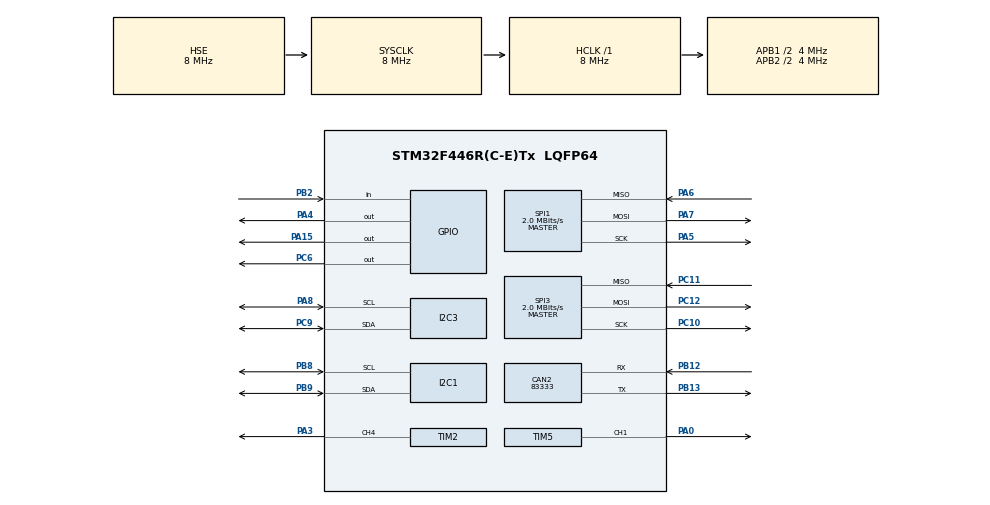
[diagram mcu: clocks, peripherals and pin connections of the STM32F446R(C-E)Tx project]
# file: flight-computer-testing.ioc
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CAN2.CalculateBaudRate=83333
CAN2.CalculateTimeBit=12000
CAN2.CalculateTimeQuantum=4000.0
Mcu.Family=STM32F4
Mcu.Name=STM32F446R(C-E)Tx
Mcu.Package=LQFP64
NVIC.PriorityGroup=NVIC_PRIORITYGROUP_4
PA0-WKUP.Signal=S_TIM5_CH1
PA13.Mode=Trace_Asynchronous_SW
PA13.Signal=SYS_JTMS-SWDIO
PA14.Mode=Trace_Asynchronous_SW
PA14.Signal=SYS_JTCK-SWCLK
PA15.PinState=GPIO_PIN_SET
PA15.Signal=GPIO_Output
PA3.Signal=S_TIM2_CH4
PA4.PinState=GPIO_PIN_SET
PA4.Signal=GPIO_Output
PA5.Mode=Full_Duplex_Master
PA5.Signal=SPI1_SCK
PA6.Mode=Full_Duplex_Master
PA6.Signal=SPI1_MISO
PA7.Mode=Full_Duplex_Master
PA7.Signal=SPI1_MOSI
PA8.GPIO_Pu=GPIO_NOPULL
PA8.Mode=I2C
PA8.Signal=I2C3_SCL
PB12.Mode=CAN_Activate
PB12.Signal=CAN2_RX
PB13.Mode=CAN_Activate
PB13.Signal=CAN2_TX
PB2.Signal=GPIO_Input
PB3.Mode=Trace_Asynchronous_SW
PB3.Signal=SYS_JTDO-SWO
PB8.Mode=I2C
PB8.Signal=I2C1_SCL
PB9.Mode=I2C
PB9.Signal=I2C1_SDA
PC10.Mode=Full_Duplex_Master
PC10.Signal=SPI3_SCK
PC11.Mode=Full_Duplex_Master
PC11.Signal=SPI3_MISO
PC12.Mode=Full_Duplex_Master
PC12.Signal=SPI3_MOSI
PC6.Signal=GPIO_Output
PC9.GPIO_Pu=GPIO_NOPULL
PC9.Mode=I2C
PC9.Signal=I2C3_SDA
PH0-OSC_IN.Mode=HSE-External-Oscillator
PH0-OSC_IN.Signal=RCC_OSC_IN
PH1-OSC_OUT.Mode=HSE-External-Oscillator
PH1-OSC_OUT.Signal=RCC_OSC_OUT
ProjectManager.HeapSize=0x200
ProjectManager.StackSize=0x400
ProjectManager.TargetToolchain=STM32CubeIDE
RCC.AHBFreq_Value=8000000
RCC.APB1CLKDivider=RCC_HCLK_DIV2
RCC.APB1Freq_Value=4000000
RCC.APB1TimFreq_Value=8000000
RCC.APB2CLKDivider=RCC_HCLK_DIV2
RCC.APB2Freq_Value=4000000
RCC.APB2TimFreq_Value=8000000
RCC.CortexFreq_Value=8000000
RCC.HCLKFreq_Value=8000000
RCC.HSE_VALUE=8000000
RCC.PLLSourceVirtual=RCC_PLLSOURCE_HSE
RCC.SYSCLKFreq_VALUE=8000000
RCC.SYSCLKSource=RCC_SYSCLKSOURCE_HSE
RCC.USBFreq_Value=48000000
RCC.VCOOutputFreq_Value=96000000
SH.S_TIM2_CH4.0=TIM2_CH4,PWM Generation4 CH4
SH.S_TIM5_CH1.0=TIM5_CH1,PWM Generation1 CH1
SPI1.CalculateBaudRate=2.0 MBits/s
SPI1.Direction=SPI_DIRECTION_2LINES
SPI1.Mode=SPI_MODE_MASTER
SPI1.VirtualType=VM_MASTER
SPI3.CLKPhase=SPI_PHASE_2EDGE
SPI3.CLKPolarity=SPI_POLARITY_HIGH
SPI3.CalculateBaudRate=2.0 MBits/s
SPI3.Direction=SPI_DIRECTION_2LINES
SPI3.Mode=SPI_MODE_MASTER
SPI3.VirtualType=VM_MASTER
TIM2.Channel-PWM\ Generation4\ CH4=TIM_CHANNEL_4
TIM2.Period=2928
TIM2.Pulse-PWM\ Generation4\ CH4=1465
TIM5.Channel-PWM\ Generation1\ CH1=TIM_CHANNEL_1
TIM5.Period=19999
TIM5.Prescaler=7
TIM5.Pulse-PWM\ Generation1\ CH1=1500
board=custom

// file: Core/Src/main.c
/* USER CODE BEGIN Header */
/**
  ******************************************************************************
  * @file           : main.c
  * @brief          : Main program body
  ******************************************************************************
  * @attention
  *
  * Copyright (c) 2026 STMicroelectronics.
  * All rights reserved.
  *
  * This software is licensed under terms that can be found in the LICENSE file
  * in the root directory of this software component.
  * If no LICENSE file comes with this software, it is provided AS-IS.
  *
  ******************************************************************************
  */
/* USER CODE END Header */
#include "main.h"

/* USER CODE BEGIN Includes */
#include <stdio.h>
#include "h3lis.h"
#define H3LIS_ADDR_LOW   (0x18 << 1)
#define H3LIS_ADDR_HIGH  (0x19 << 1)

#include "dps368.h"

#include "IMU.h"

#include "w25n.h"

#include "fsm.h"

#include "mtr_control.h"

#include "config.h"

#include "sensor_fusion.h"
#include "sensor_mount.h"

#include "airbrake_api.h"
#include "airbrake_io.h"

#include "bench.h"

#include "telemetry.h"
#include "telemetry_can.h"
/* USER CODE END Includes */

CAN_HandleTypeDef hcan2;

I2C_HandleTypeDef hi2c1;
I2C_HandleTypeDef hi2c3;

SPI_HandleTypeDef hspi1;
SPI_HandleTypeDef hspi3;

TIM_HandleTypeDef htim2;
TIM_HandleTypeDef htim5;

/* USER CODE BEGIN PV */
Accel_t accel;
uint8_t accelResult; // expected 0x32
AccelData_t accelData;

Baro_t baro;
int32_t tmp_raw, prs_raw;
float temperature_C, pressure_hPa, altitude_m;
uint8_t baroResult; // expected 0x10

IMU imu;
uint8_t IMUResult; // expected 0x6C

W25N_Handle_t nand;
W25N_Status_t nandStatus; // expected W25N_OK after Verify_ID
TelemetryRecord_t telemetry;

uint32_t loop_us, loop_us_max; /* loop body timing, see LoopTimer_* */

FusionOutput fusion;
int32_t last_prs_raw; /* a changed pressure is the only sign of a new baro sample */

uint8_t ab_boot_flags;

#if LOG_DUMP_AT_BOOT
/* capture-log --last-minutes writes this over SWD before it switches SWO
 * on (it finds the address in the Debug ELF): DUMP_REQUEST_MAGIC, then how
 * many of the newest records to dump. Without the magic the whole log is
 * dumped. Volatile: only the debugger writes it. */
#define DUMP_REQUEST_MAGIC 0xD0A9D0A9u
volatile uint32_t dump_request[2];
#endif

/* USER CODE END PV */

void SystemClock_Config(void);
static void MX_GPIO_Init(void);
static void MX_I2C1_Init(void);
static void MX_I2C3_Init(void);
static void MX_SPI3_Init(void);
static void MX_SPI1_Init(void);
static void MX_TIM2_Init(void);
static void MX_TIM5_Init(void);
static void MX_CAN2_Init(void);

/* USER CODE BEGIN 0 */
/* Loop timing from the DWT cycle counter, so the worst-case loop time
 * (sensors + fusion + airbrake + logging) can be checked on the bench. */
static void LoopTimer_Init(void)
{
    CoreDebug->DEMCR |= CoreDebug_DEMCR_TRCENA_Msk;
    DWT->CYCCNT = 0;
    DWT->CTRL |= DWT_CTRL_CYCCNTENA_Msk;
}

static uint32_t LoopTimer_Elapsed_us(uint32_t start_cycles)
{
    return (DWT->CYCCNT - start_cycles) / (SystemCoreClock / 1000000u);
}

#if LOG_DUMP_AT_BOOT
/* The dump build only: switch from the 8 MHz crystal to the PLL at 128 MHz,
 * so the dump is limited by SWO rather than the CPU. 128 MHz keeps SPI1 (the
 * NAND) at the same 2 MHz it runs at in flight: APB2 64 MHz / 32. The
 * programmer must be told this clock (freq=128, capture-log's --hclk-mhz
 * default) or the SWO output is garbage. */
#define DUMP_HCLK_MHZ 128

static HAL_StatusTypeDef Dump_Clock_Up(void)
{
  // TIM5 drives the airbrake servo and would run 16x fast: let it go limp
  HAL_TIM_PWM_Stop(&htim5, TIM_CHANNEL_1);

  __HAL_RCC_PWR_CLK_ENABLE();
  __HAL_PWR_VOLTAGESCALING_CONFIG(PWR_REGULATOR_VOLTAGE_SCALE1);

  RCC_OscInitTypeDef osc = {0};
  osc.OscillatorType = RCC_OSCILLATORTYPE_NONE;   // the HSE is already running
  osc.PLL.PLLState = RCC_PLL_ON;
  osc.PLL.PLLSource = RCC_PLLSOURCE_HSE;
  osc.PLL.PLLM = 4;                 // 8 MHz / 4 = 2 MHz PLL input (1-2 MHz allowed)
  osc.PLL.PLLN = 128;               // 256 MHz VCO (100-432 MHz allowed)
  osc.PLL.PLLP = RCC_PLLP_DIV2;     // 128 MHz system clock
  osc.PLL.PLLQ = 8;                 // 32 MHz, unused
  osc.PLL.PLLR = 2;                 // 128 MHz, unused
  if (HAL_RCC_OscConfig(&osc) != HAL_OK) {
    return HAL_ERROR;               // still on the crystal at 8 MHz
  }

  RCC_ClkInitTypeDef clk = {0};
  clk.ClockType = RCC_CLOCKTYPE_HCLK | RCC_CLOCKTYPE_SYSCLK
                | RCC_CLOCKTYPE_PCLK1 | RCC_CLOCKTYPE_PCLK2;
  clk.SYSCLKSource = RCC_SYSCLKSOURCE_PLLCLK;
  clk.AHBCLKDivider = RCC_SYSCLK_DIV1;
  clk.APB1CLKDivider = RCC_HCLK_DIV4;   // 32 MHz (max 45)
  clk.APB2CLKDivider = RCC_HCLK_DIV2;   // 64 MHz (max 90)
  // 4 flash wait states covers up to 150 MHz at 2.7-3.6 V. Also re-times
  // SysTick, so HAL_Delay stays in ms
  if (HAL_RCC_ClockConfig(&clk, FLASH_LATENCY_4) != HAL_OK) {
    return HAL_ERROR;
  }

  hspi1.Init.BaudRatePrescaler = SPI_BAUDRATEPRESCALER_32;   // 64 MHz / 32 = 2 MHz
  return HAL_SPI_Init(&hspi1);
}
#endif

/* USER CODE END 0 */

int main(void)
{

  /* MCU Configuration--------------------------------------------------------*/

  /* Reset of all peripherals, Initializes the Flash interface and the Systick. */
  HAL_Init();

  /* Configure the system clock */
  SystemClock_Config();

  /* Initialize all configured peripherals */
  MX_GPIO_Init();
  MX_I2C1_Init();
  MX_I2C3_Init();
  MX_SPI3_Init();
  MX_SPI1_Init();
  MX_TIM2_Init();
  MX_TIM5_Init();
  MX_CAN2_Init();
  /* USER CODE BEGIN 2 */

  Motor_t airbrake_motor;

#if !(LOG_ERASE_AT_BOOT || LOG_DUMP_AT_BOOT)
  // standard build
  for (int i = 0; i < STARTUP_BEEP_COUNT; i++) {
  		  HAL_TIM_PWM_Start(&htim2, TIM_CHANNEL_4);
  		  HAL_Delay(STARTUP_BEEP_ON_MS);
  		  HAL_TIM_PWM_Stop(&htim2, TIM_CHANNEL_4);
  		  HAL_Delay(STARTUP_BEEP_OFF_MS);
  	}
#endif

#if LOG_ERASE_AT_BOOT || LOG_DUMP_AT_BOOT
  // log dump or erase build
  HAL_TIM_PWM_Start(&htim2, TIM_CHANNEL_4);
  HAL_Delay(STARTUP_BEEP_ON_MS * 35);
  HAL_TIM_PWM_Stop(&htim2, TIM_CHANNEL_4);

#endif
  printf("SERIAL CHECK\n");

  //HAL_Delay(STARTUP_BEEP_OFF_MS);

  // starts at MOTOR_STARTUP_ANGLE_DEG (closed), nothing else moves it at boot
  mtr_init(&airbrake_motor, &htim5, TIM_CHANNEL_1);

//  bench_boot_tests(&airbrake_motor, &htim2);

  accel.i2c_handle = &hi2c1;
  accel.device_addr = H3LIS_ADDR_HIGH;
  accelResult = h3lis_init(&accel);

  baro.i2c_handle = &hi2c3;
  baro.device_addr = DPS368_I2C_ADDR;
  baroResult = dps368_init(&baro);
  if (baroResult != DPS368_WHOAMI_VAL) {
	  // nothing
  }
  dps368_config_tmp(&baro, BARO_TMP_MEAS_RATE, BARO_TMP_OVERSAMPLING);
  dps368_config_prs(&baro, BARO_PRS_MEAS_RATE, BARO_PRS_OVERSAMPLING);
  dps368_set_opmode(&baro, DPS368_OPMODE_BACKGROUND_PRS_TMP);

  IMUResult = IMU_Initialise(&imu, &hspi3, GPIOA, GPIO_PIN_15);

  // whoami seems to fail, but the values are read normally??? or atleast print normally
//    if (IMUResult != IMU_WHOAMI_VAL) {
//        while (1) {
//            HAL_Delay(100); /* trap here so a wiring/SPI-mode fault is obvious on a debugger */
//        }
//    }

  nand.hspi = &hspi1;
  nand.cs_port = GPIOA;
  nand.cs_pin = GPIO_PIN_4;
  nand.timeout = NAND_TIMEOUT_MS;

  W25N_Reset(&nand);
  nandStatus = W25N_Verify_ID(&nand);
  if (nandStatus != W25N_OK) {
	  printf("NAND: JEDEC ID mismatch - check wiring/CS\r\n");
  }

  nandStatus = W25N_Unlock_All_Blocks(&nand);
  if (nandStatus != W25N_OK) {
	printf("NAND: failed to clear block protection\r\n");
  }

#if LOG_ERASE_AT_BOOT && LOG_DUMP_AT_BOOT
#error "set only one of LOG_ERASE_AT_BOOT and LOG_DUMP_AT_BOOT"
#endif
#if LOG_ERASE_AT_BOOT
#ifndef DEBUG
#error "LOG_ERASE_AT_BOOT erases the log and stops - it must never be set in a Release (flight) build"
#endif
  nandStatus = W25N_Log_Erase(&nand, sizeof(TelemetryRecord_t));
  printf("NAND: log erased, status %d. Set LOG_ERASE_AT_BOOT to 0 and re-flash\r\n", nandStatus);
  // stop here, so a board left with this build can't erase a flight log
  while (1) {
  }
#endif

  // carry on after the log already on the chip, so a reboot (even
  // mid-flight) adds to it instead of writing over it
  nandStatus = W25N_Log_Resume(&nand, sizeof(TelemetryRecord_t));
  if (nandStatus != W25N_OK) {
	printf("NAND: can't find the end of the log, status %d - not logging\r\n", nandStatus);
  } else {
	printf("NAND: log continues at page %lu\r\n", (unsigned long)nand.log_next_page);
  }

  FSM_t fsm;
  FSM_Init(&fsm);

  if (FSM_GetState(&fsm) == FSM_STATE_READY) {
	  HAL_TIM_PWM_Start(&htim2, TIM_CHANNEL_4);
	  HAL_Delay(READY_BEEP_MS);
	  HAL_TIM_PWM_Stop(&htim2, TIM_CHANNEL_4);

  }

  // the first ~2 s of updates calibrate the gyro and pad level, so the board
  // must be still from here
  fusion_init();

  // provisional airbrake config (pad elevation is only known at launch), then
  // the built-in self test. The brakes stay closed on the pad either way.
  AB_Status ab_cfg_status = ab_io_configure(0.0f);
  AB_Status ab_test_status = ab_self_test();
  ab_boot_flags = (uint8_t)((ab_cfg_status == AB_OK ? AB_BOOT_CONFIGURED : 0u) |
                            (ab_test_status == AB_OK ? AB_BOOT_SELF_TEST_OK : 0u));
  printf("airbrake: Cd table %s, configure %d, self test %d\r\n",
         ab_cd_table_provenance(), (int)ab_cfg_status, (int)ab_test_status);

#ifdef BENCH_BUILD
    while (1) {
  	  mtr_set_angle_deg(&airbrake_motor, MOTOR_ANGLE_MAX_DEG);
  	  HAL_Delay(5000);
  	  mtr_set_angle_deg(&airbrake_motor, MOTOR_ANGLE_MIN_DEG);
  	  HAL_Delay(5000);
    }
  uint32_t bench_print_count = 0;  // the loop below still uses it
#endif

  LoopTimer_Init();
  uint32_t prevTick = HAL_GetTick();

#if LOG_DUMP_AT_BOOT
#ifndef DEBUG
#error "LOG_DUMP_AT_BOOT stops the firmware after the dump - it must never be set in a Release (flight) build"
#endif
  // before anything goes out over SWO, which the programmer times from the
  // clock it's told. If this fails the board stays at 8 MHz: capture with
  // --hclk-mhz 8
  HAL_StatusTypeDef dump_clock = Dump_Clock_Up();
  printf("DUMPING NAND LOG *** BEGIN IN %ims", LOG_DUMP_START_DELAY_MS);
  // ITM drops every character until a debugger turns SWO on, so wait for
  // the capture (uv run capture-log in tools/) to start
  while (!((ITM->TCR & ITM_TCR_ITMENA_Msk) && (ITM->TER & 1UL))) {
  }
  HAL_Delay(LOG_DUMP_START_DELAY_MS);
  printf("\r\n");
  // the SWO bit rate the programmer chose, from the prescaler it set
  printf("# clock hclk_mhz=%lu clock_up=%d swo_khz=%lu\r\n",
         (unsigned long)(SystemCoreClock / 1000000u), (int)dump_clock,
         (unsigned long)(SystemCoreClock / 1000u / ((TPI->ACPR & 0x1FFFu) + 1u)));
  // log size first, so the capture can show progress
  printf("# log pages=%lu records_per_page=%lu\r\n", (unsigned long)nand.log_next_page,
         (unsigned long)(W25N_PAGE_SIZE_BYTES / sizeof(TelemetryRecord_t)));
  // records go out base64 encoded and capture-log turns them back into CSV:
  // printf's float formatting took most of a CSV dump's time at 8 MHz
  printf("# format=b64 record_bytes=%lu\r\n", (unsigned long)sizeof(TelemetryRecord_t));
  // where to start: the whole log, or enough pages for the records asked for,
  // plus one because the newest page may be only partly filled
  uint32_t dump_first_page = 0;
  if (dump_request[0] == DUMP_REQUEST_MAGIC) {
    uint32_t per_page = W25N_PAGE_SIZE_BYTES / sizeof(TelemetryRecord_t);
    uint32_t pages = dump_request[1] / per_page + 2;   // rounded up, plus one
    dump_first_page = (pages < nand.log_next_page) ? nand.log_next_page - pages : 0;
  }
  printf("# dump first_page=%lu\r\n", (unsigned long)dump_first_page);
  telemetry_print_csv_header();
  W25N_Log_Dump(&nand, dump_first_page, nand.log_next_page, &telemetry, sizeof(telemetry),
                telemetry_print_b64);
  printf("# end of log\r\n");
  // stop here, so the dump build never adds to the log it just read
  while (1) {
  }
#endif

#if TELEMETRY_CAN_ENABLED
  // live telemetry to the Telemetry Board over CAN2. Failing here only
  // loses the radio link: nothing in flight depends on it
  HAL_StatusTypeDef can_status = telemetry_can_start(&hcan2);
  bool can_ok = (can_status == HAL_OK);
  printf("CAN telemetry: %s (status %d, error 0x%lx)\r\n",
         can_ok ? "started" :
         (hcan2.ErrorCode & HAL_CAN_ERROR_TIMEOUT) ? "NOT started, bus not idle, will retry" :
         "NOT started, bad setup",
         (int)can_status, (unsigned long)hcan2.ErrorCode);
  TelemetryRecordMini radio;
  uint32_t radio_count = 0;
  uint32_t can_status_tick = HAL_GetTick();
#else
  printf("CAN telemetry: disabled (TELEMETRY_CAN_ENABLED 0)\r\n");
#endif

  /* USER CODE END 2 */

  /* Infinite loop */
  while (1)
  {

    /* USER CODE BEGIN 3 */

	  uint32_t timeTick = HAL_GetTick();

	  if (timeTick - prevTick >= MIN_CONTROL_LOOP_PERIOD_MS) {
		  float dt_s = (float)(timeTick - prevTick) * 0.001f;
		  prevTick = timeTick;
		  uint32_t loopStart = DWT->CYCCNT;

		  h3lis_read(&accel, &accelData);

		  dps368_get_result(&baro, &tmp_raw, &prs_raw);
		  temperature_C = tmp_raw / 100.0f;      /* tmp_raw is °C x100 */
		  pressure_hPa  = prs_raw / 100.0f;      /* prs_raw is Pa, /100 -> hPa */
		  altitude_m = dps368_get_altitude(prs_raw);

		  ReadAllIMU(&imu);

		  // raw chip axes -> rocket body frame happens in sensor_mount.h
		  int8_t hg[3] = { accelData.accel_x, accelData.accel_y, accelData.accel_z };
		  bool baro_new = (prs_raw != last_prs_raw);
		  last_prs_raw = prs_raw;
		  FusionInput fusion_in = sensor_mount_input(imu.acceleration, imu.gyro, hg,
		                                             altitude_m, baro_new);
		  fusion = fusion_update(&fusion_in, dt_s);

		  bool changed = FSM_NewReading(
			  &fsm, 0, 0, 0, /* h3lis int8 accel: unused by fsm.c's logic */
			  // body frame from sensor_mount.h, the one axis mapping. The FSM
			  // expects the nose axis (+ towards the nose) as its y input
			  fusion_in.ax_mg, fusion_in.az_mg, fusion_in.ay_mg,
			  fusion_in.gx_mdps, fusion_in.gy_mdps, fusion_in.gz_mdps,
			  // fusion altitude above the pad, not raw baro: the fusion rejects
			  // bad baro reads, and one bad read would otherwise set the FSM's
			  // max altitude and call apogee mid-coast, ending airbrake control
			  fusion.altitude, timeTick);

		  if (changed && FSM_GetState(&fsm) == FSM_STATE_THRUST) {
			  // launch: raw baro minus fusion AGL is the pad's pressure altitude,
			  // which the airbrake's density model needs. Keep the boot config
			  // if it's rejected
			  if (ab_io_configure(altitude_m - fusion.altitude) == AB_OK) {
				  ab_boot_flags |= AB_BOOT_PAD_ELEVATION;
			  } else {
				  (void)ab_io_configure(0.0f);
			  }
		  }

		  // every loop, even while inhibited, so the core's servo model stays true
		  AB_TickInput ab_in = ab_io_make_input(&fusion, FSM_GetState(&fsm), dt_s);
		  AB_TickOutput ab_out;
		  (void)ab_tick(&ab_in, &ab_out);
		  mtr_set_angle_deg(&airbrake_motor, ab_io_servo_angle_deg(ab_out.deployment_cmd));

//		  printf("imu accel (mg): %.2f %.2f %.2f\r\n", imu.acceleration[0], imu.acceleration[1], imu.acceleration[2]);
//		  printf("imu gyro (mdps): %.2f %.2f %.2f\r\n", imu.gyro[0], imu.gyro[1], imu.gyro[2]);
//
//		  printf("temp: %.2f C\r\n", temperature_C);
//		  printf("pressure: %.2f hPa\r\n", pressure_hPa);
//		  printf("altitude: %.2f m\r\n", altitude_m);
//
//		  printf("state: %s\r\n", FSM_StateName(FSM_GetState(&fsm)));

		  telemetry_fill(&telemetry, timeTick, &accelData, &imu,
		                 temperature_C, pressure_hPa, altitude_m,
		                 FSM_GetState(&fsm), loop_us, loop_us_max,
		                 &fusion, &ab_out, ab_boot_flags);

#ifdef BENCH_BUILD
		  if (++bench_print_count >= BENCH_PRINT_EVERY) {
			  bench_print_count = 0;
			  telemetry_print(nand.log_next_page, (const uint8_t *)&telemetry, sizeof(telemetry));
		  }
#endif

		  if (FSM_GetState(&fsm) != FSM_STATE_LANDED) {
			  HAL_GPIO_TogglePin(GPIOC, GPIO_PIN_6);
			  nandStatus = W25N_Log_Write(&nand, &telemetry, sizeof(telemetry));
		  } else {
			  // records wait in the NAND chip's page buffer until a page is full,
			  // so program the last, partly filled page (a no-op once done)
			  nandStatus = W25N_Log_Flush(&nand);
		  }

		  if (nandStatus != W25N_OK) {
			  printf("NAND write failed at page %lu, status %d\r\n", (unsigned long)nand.log_next_page, nandStatus);
		  }

#if TELEMETRY_CAN_ENABLED
		  // live telemetry, every TELEMETRY_CAN_EVERY loops. A dead bus costs at
		  // most a few ms here (see telemetry_can_send)
		  if (can_ok && ++radio_count >= TELEMETRY_CAN_EVERY) {
			  radio_count = 0;
			  telemetry_fill_mini(&radio, &fusion_in, temperature_C, pressure_hPa,
			                      &fusion, FSM_GetState(&fsm), &ab_out);
			  (void)telemetry_can_send(&hcan2, &radio, sizeof(radio));
		  }

		  // once a second: start CAN if the boot start found the bus busy,
		  // and print the CAN error counters (only while SWO is being read)
		  if (timeTick - can_status_tick >= TELEMETRY_CAN_STATUS_MS) {
			  can_status_tick = timeTick;
			  if (!can_ok) {
				  can_ok = telemetry_can_poll(&hcan2);
			  }
			  telemetry_can_print_status(&hcan2);
		  }
#endif

		  loop_us = LoopTimer_Elapsed_us(loopStart);
		  if (loop_us > loop_us_max) {
			  loop_us_max = loop_us;
		  }
	  }

//	  HAL_Delay(500);
  }
  /* USER CODE END 3 */
}

void SystemClock_Config(void)
{
  RCC_OscInitTypeDef RCC_OscInitStruct = {0};
  RCC_ClkInitTypeDef RCC_ClkInitStruct = {0};

  /** Configure the main internal regulator output voltage
  */
  __HAL_RCC_PWR_CLK_ENABLE();
  __HAL_PWR_VOLTAGESCALING_CONFIG(PWR_REGULATOR_VOLTAGE_SCALE3);

  /** Initializes the RCC Oscillators according to the specified parameters
  * in the RCC_OscInitTypeDef structure.
  */
  RCC_OscInitStruct.OscillatorType = RCC_OSCILLATORTYPE_HSE;
  RCC_OscInitStruct.HSEState = RCC_HSE_ON;
  RCC_OscInitStruct.PLL.PLLState = RCC_PLL_NONE;
  if (HAL_RCC_OscConfig(&RCC_OscInitStruct) != HAL_OK)
  {
    Error_Handler();
  }

  /** Initializes the CPU, AHB and APB buses clocks
  */
  RCC_ClkInitStruct.ClockType = RCC_CLOCKTYPE_HCLK|RCC_CLOCKTYPE_SYSCLK
                              |RCC_CLOCKTYPE_PCLK1|RCC_CLOCKTYPE_PCLK2;
  RCC_ClkInitStruct.SYSCLKSource = RCC_SYSCLKSOURCE_HSE;
  RCC_ClkInitStruct.AHBCLKDivider = RCC_SYSCLK_DIV1;
  RCC_ClkInitStruct.APB1CLKDivider = RCC_HCLK_DIV2;
  RCC_ClkInitStruct.APB2CLKDivider = RCC_HCLK_DIV2;

  if (HAL_RCC_ClockConfig(&RCC_ClkInitStruct, FLASH_LATENCY_0) != HAL_OK)
  {
    Error_Handler();
  }
}

static void MX_CAN2_Init(void)
{

  /* USER CODE BEGIN CAN2_Init 0 */
#if !TELEMETRY_CAN_ENABLED
  // CAN telemetry is off (config.h): leave CAN2 and its pins untouched
  return;
#endif

  /* USER CODE END CAN2_Init 0 */

  hcan2.Instance = CAN2;
  hcan2.Init.Prescaler = 1;
  hcan2.Init.Mode = CAN_MODE_NORMAL;
  hcan2.Init.SyncJumpWidth = CAN_SJW_1TQ;
  hcan2.Init.TimeSeg1 = CAN_BS1_5TQ;
  hcan2.Init.TimeSeg2 = CAN_BS2_2TQ;
  hcan2.Init.TimeTriggeredMode = DISABLE;
  hcan2.Init.AutoBusOff = ENABLE;
  hcan2.Init.AutoWakeUp = DISABLE;
  hcan2.Init.AutoRetransmission = ENABLE;
  hcan2.Init.ReceiveFifoLocked = DISABLE;
  hcan2.Init.TransmitFifoPriority = ENABLE;
  if (HAL_CAN_Init(&hcan2) != HAL_OK)
  {
    Error_Handler();
  }

}

static void MX_I2C1_Init(void)
{

  hi2c1.Instance = I2C1;
  hi2c1.Init.ClockSpeed = 100000;
  hi2c1.Init.DutyCycle = I2C_DUTYCYCLE_2;
  hi2c1.Init.OwnAddress1 = 0;
  hi2c1.Init.AddressingMode = I2C_ADDRESSINGMODE_7BIT;
  hi2c1.Init.DualAddressMode = I2C_DUALADDRESS_DISABLE;
  hi2c1.Init.OwnAddress2 = 0;
  hi2c1.Init.GeneralCallMode = I2C_GENERALCALL_DISABLE;
  hi2c1.Init.NoStretchMode = I2C_NOSTRETCH_DISABLE;
  if (HAL_I2C_Init(&hi2c1) != HAL_OK)
  {
    Error_Handler();
  }

}

static void MX_I2C3_Init(void)
{

  hi2c3.Instance = I2C3;
  hi2c3.Init.ClockSpeed = 100000;
  hi2c3.Init.DutyCycle = I2C_DUTYCYCLE_2;
  hi2c3.Init.OwnAddress1 = 0;
  hi2c3.Init.AddressingMode = I2C_ADDRESSINGMODE_7BIT;
  hi2c3.Init.DualAddressMode = I2C_DUALADDRESS_DISABLE;
  hi2c3.Init.OwnAddress2 = 0;
  hi2c3.Init.GeneralCallMode = I2C_GENERALCALL_DISABLE;
  hi2c3.Init.NoStretchMode = I2C_NOSTRETCH_DISABLE;
  if (HAL_I2C_Init(&hi2c3) != HAL_OK)
  {
    Error_Handler();
  }

}

static void MX_SPI1_Init(void)
{

  /* SPI1 parameter configuration*/
  hspi1.Instance = SPI1;
  hspi1.Init.Mode = SPI_MODE_MASTER;
  hspi1.Init.Direction = SPI_DIRECTION_2LINES;
  hspi1.Init.DataSize = SPI_DATASIZE_8BIT;
  hspi1.Init.CLKPolarity = SPI_POLARITY_LOW;
  hspi1.Init.CLKPhase = SPI_PHASE_1EDGE;
  hspi1.Init.NSS = SPI_NSS_SOFT;
  hspi1.Init.BaudRatePrescaler = SPI_BAUDRATEPRESCALER_2;
  hspi1.Init.FirstBit = SPI_FIRSTBIT_MSB;
  hspi1.Init.TIMode = SPI_TIMODE_DISABLE;
  hspi1.Init.CRCCalculation = SPI_CRCCALCULATION_DISABLE;
  hspi1.Init.CRCPolynomial = 10;
  if (HAL_SPI_Init(&hspi1) != HAL_OK)
  {
    Error_Handler();
  }

}

static void MX_SPI3_Init(void)
{

  /* SPI3 parameter configuration*/
  hspi3.Instance = SPI3;
  hspi3.Init.Mode = SPI_MODE_MASTER;
  hspi3.Init.Direction = SPI_DIRECTION_2LINES;
  hspi3.Init.DataSize = SPI_DATASIZE_8BIT;
  hspi3.Init.CLKPolarity = SPI_POLARITY_HIGH;
  hspi3.Init.CLKPhase = SPI_PHASE_2EDGE;
  hspi3.Init.NSS = SPI_NSS_SOFT;
  hspi3.Init.BaudRatePrescaler = SPI_BAUDRATEPRESCALER_2;
  hspi3.Init.FirstBit = SPI_FIRSTBIT_MSB;
  hspi3.Init.TIMode = SPI_TIMODE_DISABLE;
  hspi3.Init.CRCCalculation = SPI_CRCCALCULATION_DISABLE;
  hspi3.Init.CRCPolynomial = 10;
  if (HAL_SPI_Init(&hspi3) != HAL_OK)
  {
    Error_Handler();
  }

}

static void MX_TIM2_Init(void)
{

  TIM_MasterConfigTypeDef sMasterConfig = {0};
  TIM_OC_InitTypeDef sConfigOC = {0};

  htim2.Instance = TIM2;
  htim2.Init.Prescaler = 0;
  htim2.Init.CounterMode = TIM_COUNTERMODE_UP;
  htim2.Init.Period = 2928;
  htim2.Init.ClockDivision = TIM_CLOCKDIVISION_DIV1;
  htim2.Init.AutoReloadPreload = TIM_AUTORELOAD_PRELOAD_DISABLE;
  if (HAL_TIM_PWM_Init(&htim2) != HAL_OK)
  {
    Error_Handler();
  }
  sMasterConfig.MasterOutputTrigger = TIM_TRGO_RESET;
  sMasterConfig.MasterSlaveMode = TIM_MASTERSLAVEMODE_DISABLE;
  if (HAL_TIMEx_MasterConfigSynchronization(&htim2, &sMasterConfig) != HAL_OK)
  {
    Error_Handler();
  }
  sConfigOC.OCMode = TIM_OCMODE_PWM1;
  sConfigOC.Pulse = 1465;
  sConfigOC.OCPolarity = TIM_OCPOLARITY_HIGH;
  sConfigOC.OCFastMode = TIM_OCFAST_DISABLE;
  if (HAL_TIM_PWM_ConfigChannel(&htim2, &sConfigOC, TIM_CHANNEL_4) != HAL_OK)
  {
    Error_Handler();
  }
  HAL_TIM_MspPostInit(&htim2);

}

static void MX_TIM5_Init(void)
{

  TIM_MasterConfigTypeDef sMasterConfig = {0};
  TIM_OC_InitTypeDef sConfigOC = {0};

  htim5.Instance = TIM5;
  htim5.Init.Prescaler = 7;
  htim5.Init.CounterMode = TIM_COUNTERMODE_UP;
  htim5.Init.Period = 19999;
  htim5.Init.ClockDivision = TIM_CLOCKDIVISION_DIV1;
  htim5.Init.AutoReloadPreload = TIM_AUTORELOAD_PRELOAD_DISABLE;
  if (HAL_TIM_PWM_Init(&htim5) != HAL_OK)
  {
    Error_Handler();
  }
  sMasterConfig.MasterOutputTrigger = TIM_TRGO_RESET;
  sMasterConfig.MasterSlaveMode = TIM_MASTERSLAVEMODE_DISABLE;
  if (HAL_TIMEx_MasterConfigSynchronization(&htim5, &sMasterConfig) != HAL_OK)
  {
    Error_Handler();
  }
  sConfigOC.OCMode = TIM_OCMODE_PWM1;
  sConfigOC.Pulse = 1500;
  sConfigOC.OCPolarity = TIM_OCPOLARITY_HIGH;
  sConfigOC.OCFastMode = TIM_OCFAST_DISABLE;
  if (HAL_TIM_PWM_ConfigChannel(&htim5, &sConfigOC, TIM_CHANNEL_1) != HAL_OK)
  {
    Error_Handler();
  }
  HAL_TIM_MspPostInit(&htim5);

}

static void MX_GPIO_Init(void)
{
  GPIO_InitTypeDef GPIO_InitStruct = {0};

  /* GPIO Ports Clock Enable */
  __HAL_RCC_GPIOH_CLK_ENABLE();
  __HAL_RCC_GPIOA_CLK_ENABLE();
  __HAL_RCC_GPIOB_CLK_ENABLE();
  __HAL_RCC_GPIOC_CLK_ENABLE();

  /*Configure GPIO pin Output Level */
  HAL_GPIO_WritePin(GPIOA, GPIO_PIN_4|GPIO_PIN_15, GPIO_PIN_SET);

  /*Configure GPIO pin Output Level */
  HAL_GPIO_WritePin(GPIOC, GPIO_PIN_6, GPIO_PIN_RESET);

  /*Configure GPIO pins : PA4 PA15 */
  GPIO_InitStruct.Pin = GPIO_PIN_4|GPIO_PIN_15;
  GPIO_InitStruct.Mode = GPIO_MODE_OUTPUT_PP;
  GPIO_InitStruct.Pull = GPIO_NOPULL;
  GPIO_InitStruct.Speed = GPIO_SPEED_FREQ_LOW;
  HAL_GPIO_Init(GPIOA, &GPIO_InitStruct);

  /*Configure GPIO pin : PB2 */
  GPIO_InitStruct.Pin = GPIO_PIN_2;
  GPIO_InitStruct.Mode = GPIO_MODE_INPUT;
  GPIO_InitStruct.Pull = GPIO_NOPULL;
  HAL_GPIO_Init(GPIOB, &GPIO_InitStruct);

  /*Configure GPIO pin : PC6 */
  GPIO_InitStruct.Pin = GPIO_PIN_6;
  GPIO_InitStruct.Mode = GPIO_MODE_OUTPUT_PP;
  GPIO_InitStruct.Pull = GPIO_NOPULL;
  GPIO_InitStruct.Speed = GPIO_SPEED_FREQ_LOW;
  HAL_GPIO_Init(GPIOC, &GPIO_InitStruct);

}

/* USER CODE BEGIN 4 */

#ifdef __GNUC__
int __io_putchar(int ch)
#else
int fputc(int ch, FILE *f)
#endif
{
    ITM_SendChar(ch);
    return ch;
}
/* USER CODE END 4 */

void Error_Handler(void)
{
  __disable_irq();
  while (1)
  {
  }
}
